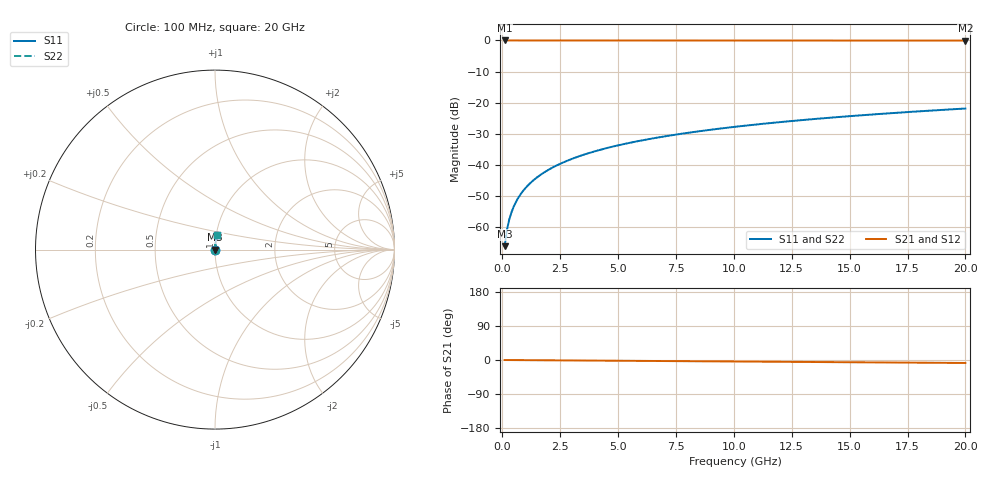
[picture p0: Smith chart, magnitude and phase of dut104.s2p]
! Touchstone file exported from HFSS 2026.1.0
!  File:  C:/ffzhzh/LocalFiles/Ansys_Project_Files/temp_train_TSV_104_1782989501_41620.aedt
!  Generated:  06:53:16 PM Jul  2, 2026
!  Design:  TSV
!  Project:  temp_train_TSV_104_1782989501_41620
! Variables:
!  h_bsmrdl = 2um
!  h_ox = 20um
!  h_rdl = 5um
!  h_sub = 53.9um
!  h_tmrdl = 5um
!  h_tsv = 53.9um
!  h_via = 3um
!  l_bsmrdl = 300um
!  l_sub = 411.06um
!  l_tmrdl = 200um
!  m_sub = 200um
!  pitch = 58.84um
!  r_tsv = 5.53um
!  s_tmrdl = 10um
!  w_bsmrdl = 18um
!  w_sub = 500um
!  w_tmrdl = 12um
!  x_tsv_center1 = 206um
!  x_tsv_center2 = 524um
!  x_tsv_center3 = 736um
!  x_tsv_center4 = 1054um
!  x_tsv_center5 = 1266um
!  x_tsv_center6 = 1584um
# GHz S MA R 50.000000
! Terminal data exported
! Port[1] = TSV1_1_T1
! Port[2] = TSV1_1_T2
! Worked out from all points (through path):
!   200 points, 100 MHz to 20 GHz, reference 50 ohm
!   highest |S21| = 0.00 dB at 100 MHz (marker M1); lowest = 0.0 dB at 20 GHz (marker M2)
!   group delay of S21, straight-line fit = 1.09 ps
!   lowest |S11| = -66.1 dB at 100 MHz (marker M3), VSWR 1.00, Z = 50 + j0.0437 ohm
!   |S11| at or under -10 dB: start of sweep to end of sweep
!   |S22| runs from -66.1 to -21.9 dB; largest |S21 - S12| = 3.4e-15
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0.1  0.000497 61.6  0.9998 -0.0  0.9998 -0.0  0.000497 61.6
! Gamma 0 0 0 0
! Port Impedance 50 0 50 0
0.2  0.0009062 74.3  0.9998 -0.1  0.9998 -0.1  0.0009062 74.3
0.3  0.001329 78.8  0.9997 -0.1  0.9997 -0.1  0.001329 78.8
0.4  0.001753 81.0  0.9997 -0.2  0.9997 -0.2  0.001753 81.0
0.5  0.002174 82.3  0.9997 -0.2  0.9997 -0.2  0.002174 82.3
0.6  0.002594 83.2  0.9997 -0.2  0.9997 -0.2  0.002594 83.2
0.7  0.003012 83.8  0.9997 -0.3  0.9997 -0.3  0.003012 83.8
0.8  0.003428 84.3  0.9997 -0.3  0.9997 -0.3  0.003428 84.3
1  0.004258 84.9  0.9996 -0.4  0.9996 -0.4  0.004258 84.9
1.4  0.005915 85.7  0.9996 -0.6  0.9996 -0.6  0.005915 85.7
1.7  0.007156 86.1  0.9996 -0.7  0.9996 -0.7  0.007156 86.1
2  0.008395 86.2  0.9995 -0.8  0.9995 -0.8  0.008395 86.2
2.7  0.01128 86.4  0.9994 -1.1  0.9994 -1.1  0.01128 86.4
3.5  0.01456 86.4  0.9993 -1.4  0.9993 -1.4  0.01456 86.4
4.2  0.01742 86.3  0.9992 -1.7  0.9992 -1.7  0.01742 86.3
5  0.02067 86.1  0.9991 -2.0  0.9991 -2.0  0.02067 86.1
6.8  0.02796 85.6  0.9988 -2.7  0.9988 -2.7  0.02796 85.6
8.3  0.03401 85.2  0.9985 -3.3  0.9985 -3.3  0.03401 85.2
10.1  0.04124 84.6  0.9982 -4.0  0.9982 -4.0  0.04124 84.6
13.4  0.05447 83.5  0.9974 -5.3  0.9974 -5.3  0.05447 83.5
16.7  0.06762 82.4  0.9965 -6.6  0.9965 -6.6  0.06762 82.4
20  0.08067 81.1  0.9954 -7.9  0.9954 -7.9  0.08067 81.1
